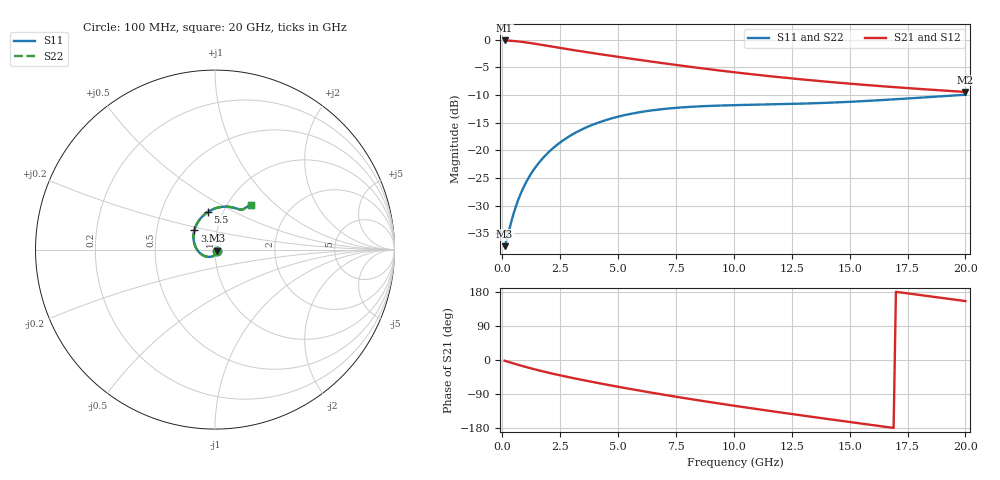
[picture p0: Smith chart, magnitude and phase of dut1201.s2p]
! Touchstone file exported from HFSS 2024.1.0
!  File:  C:/UserFiles/LocalFiles/RDL_TSV_Batchsim/temp_RDL_TSV_1201_1780257164.aedt
!  Generated:  04:07:21 AM Jun  1, 2026
!  Design:  RDL_TSV
!  Project:  temp_RDL_TSV_1201_1780257164
!  Setup:  Setup1
!  Solution:  Sweep
! Variables:
!  dtsv = 13.02um
!  hbump = 3um
!  htsv = 98.16um
!  ldown = 223.59um
!  lrdl = 456.08um
!  p = 40
!  p1 = 42.33um
!  rhole = 10um
!  subl = 2495.09um
!  t = 450um
!  tdown = 2.33um
!  trdl = 4.93um
!  viad = 10um
!  wdown = 27.76um
!  wrdl = 15.36um
!  xbump = 18um
# GHz S MA R 50.000000
! Terminal data exported
! Port[1] = TM1_1_T1
! Port[2] = TM1_4_T1
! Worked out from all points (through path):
!   200 points, 100 MHz to 20 GHz, reference 50 ohm
!   highest |S21| = -0.12 dB at 100 MHz (marker M1); lowest = -9.4 dB at 20 GHz (marker M2)
!   group delay of S21, straight-line fit = 26.8 ps
!   lowest |S11| = -37.3 dB at 100 MHz (marker M3), VSWR 1.03, Z = 51.3 - j0.561 ohm
!   |S11| at or under -10 dB: start of sweep to 19.75 GHz
!   |S22| runs from -37.3 to -9.9 dB; largest |S21 - S12| = 9.4e-15
!   S11 on the Smith chart (normalised r, x): 100 MHz: 1.03, -0.01; 3.5 GHz: 0.78, +0.17; 5.5 GHz: 0.85, +0.37; 20 GHz: 1.28, +0.71
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0.1  0.01361 -23.7  0.9866 -1.9  0.9866 -1.9  0.01361 -23.7
! Gamma 0 0 0 0
! Port Impedance 50 0 50 0
0.2  0.01594 -44.2  0.9848 -3.8  0.9848 -3.8  0.01594 -44.2
0.5  0.02735 -85.7  0.9752 -9.4  0.9752 -9.4  0.02735 -85.7
0.7  0.03628 -104.1  0.9661 -13.0  0.9661 -13.0  0.03628 -104.1
1  0.05019 -125.9  0.949 -18.2  0.949 -18.2  0.05018 -125.9
1.3  0.06422 -143.7  0.9291 -23.1  0.9291 -23.1  0.06422 -143.7
1.7  0.08275 -163.7  0.9006 -29.3  0.9006 -29.3  0.08274 -163.7
2.2  0.1052 175.7  0.8648 -36.5  0.8648 -36.5  0.1052 175.7
2.8  0.1304 155.7  0.8243 -44.4  0.8243 -44.4  0.1304 155.7
3.5  0.157 137.0  0.7813 -53.2  0.7813 -53.2  0.157 137.0
4.5  0.1888 116.5  0.7265 -65.0  0.7265 -65.0  0.1887 116.5
5.5  0.2131 101.0  0.6774 -76.2  0.6774 -76.2  0.2131 101.0
6.8  0.2347 86.0  0.6203 -89.9  0.6203 -89.9  0.2347 86.0
7.6  0.2434 78.9  0.5888 -97.9  0.5888 -97.9  0.2434 78.9
8.4  0.2495 73.1  0.5598 -105.7  0.5598 -105.7  0.2494 73.1
10.1  0.2568 64.3  0.5065 -121.5  0.5065 -121.5  0.2567 64.3
11.7  0.2609 59.4  0.4653 -135.7  0.4653 -135.7  0.2608 59.3
13.4  0.2665 56.5  0.4293 -150.2  0.4293 -150.2  0.2664 56.4
15  0.275 55.0  0.4013 -163.6  0.4013 -163.6  0.2748 55.0
16.7  0.2876 53.9  0.3763 -177.6  0.3763 -177.6  0.2874 53.9
18.3  0.3021 52.8  0.3562 169.3  0.3562 169.3  0.3018 52.8
20  0.3186 51.4  0.3376 155.5  0.3376 155.5  0.3183 51.4
